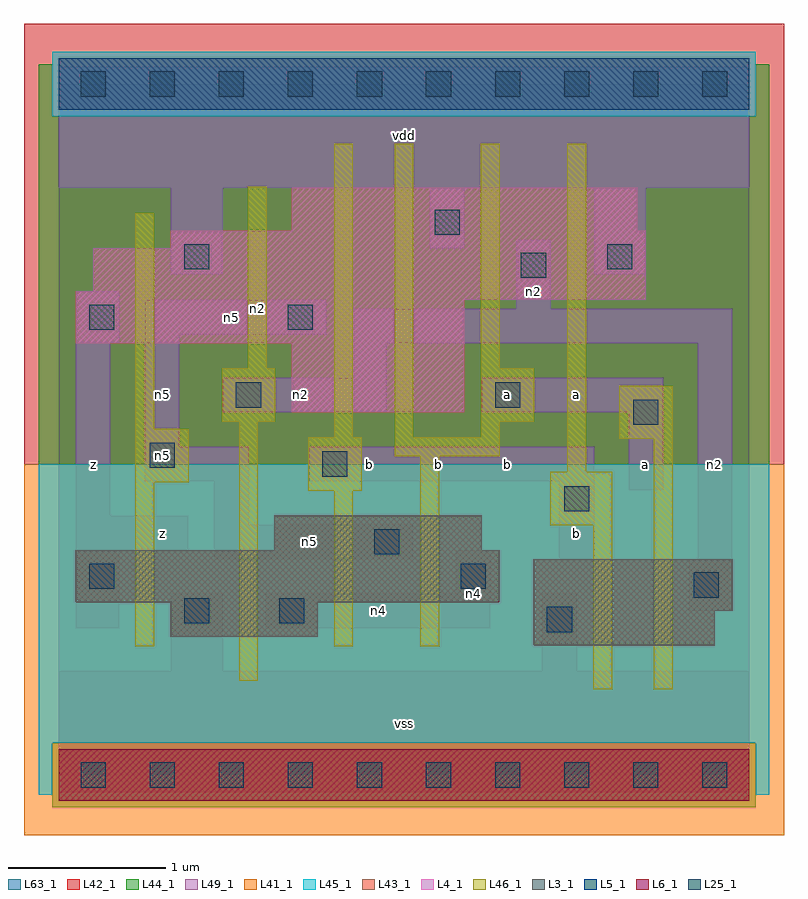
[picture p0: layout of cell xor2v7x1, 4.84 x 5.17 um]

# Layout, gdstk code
import gdstk
lib = gdstk.Library(unit=1e-6, precision=1e-09)
def R(c, l, rs):  # rectangles x0, y0, x1, y1
    for r in rs: c.add(gdstk.rectangle(r[:2], r[2:], *l))
def A(c, l, x, y, w, h, nx, ny, dx, dy):  # array of equal rectangles
    R(c, l, [(x+i*dx, y+j*dy, x+i*dx+w, y+j*dy+h) for i in range(nx) for j in range(ny)])
L3_1 = (3, 1)
L4_1 = (4, 1)
L5_1 = (5, 1)
L6_1 = (6, 1)
L25_1 = (25, 1)
L41_1 = (41, 1)
L42_1 = (42, 1)
L43_1 = (43, 1)
L44_1 = (44, 1)
L45_1 = (45, 1)
L46_1 = (46, 1)
L49_1 = (49, 1)
L63_1 = (63, 1)

xor2v7x1 = lib.new_cell('xor2v7x1')
R(xor2v7x1, L3_1, [(3.025,0.825,4.18,1.045), (0.715,0.88,1.65,1.1), (3.025,1.045,4.29,1.375), (0.11,1.1,2.805,1.43), (1.375,1.43,2.695,1.65)])
R(xor2v7x1, L4_1, [(1.485,2.31,2.585,2.75), (0.11,2.75,2.585,3.025), (0.11,3.025,3.74,3.08), (0.22,3.08,3.74,3.355), (0.715,3.355,3.74,3.465), (1.485,3.465,3.685,3.74)])
R(xor2v7x1, L5_1, [(0,4.235,4.4,4.565)])
R(xor2v7x1, L6_1, [(0,-0.165,4.4,0.165)])
A(xor2v7x1, L25_1, 0.14, -0.08, 0.16, 0.16, 10, 2, 0.44, 4.4)
R(xor2v7x1, L25_1, [(3.11,0.91,3.27,1.07), (0.8,0.965,0.96,1.125), (1.405,0.965,1.565,1.125), (4.045,1.13,4.205,1.29), (0.195,1.185,0.355,1.345), (2.56,1.185,2.72,1.345), (2.01,1.405,2.17,1.565), (3.22,1.68,3.38,1.84), (1.68,1.9,1.84,2.06), (0.58,1.955,0.74,2.115), (3.66,2.23,3.82,2.39), (1.13,2.34,1.29,2.5), (2.78,2.34,2.94,2.5), (0.195,2.835,0.355,2.995), (1.46,2.835,1.62,2.995), (2.945,3.165,3.105,3.325), (0.8,3.22,0.96,3.38), (3.495,3.22,3.655,3.38), (2.395,3.44,2.555,3.6)])
R(xor2v7x1, L41_1, [(-0.22,-0.385,4.62,1.98)])
R(xor2v7x1, L42_1, [(-0.22,1.98,4.62,4.785)])
R(xor2v7x1, L43_1, [(0,-0.165,4.4,0.165), (3.025,0.825,4.18,1.045), (0.715,0.88,1.65,1.1), (3.025,1.045,4.29,1.375), (0.11,1.1,2.805,1.43), (1.375,1.43,2.695,1.65), (1.485,2.31,2.585,2.75), (0.11,2.75,2.585,3.025), (0.11,3.025,3.74,3.08), (0.22,3.08,3.74,3.355), (0.715,3.355,3.74,3.465), (1.485,3.465,3.685,3.74), (0,4.235,4.4,4.565)])
R(xor2v7x1, L44_1, [(-0.04,-0.205,4.44,0.205), (-0.125,1.98,4.525,4.195), (-0.125,4.195,-0.04,4.525), (4.44,4.195,4.525,4.525)])
R(xor2v7x1, L45_1, [(-0.125,-0.125,-0.04,0.205), (4.44,-0.125,4.525,0.205), (-0.125,0.205,4.525,1.98), (-0.04,4.195,4.44,4.605)])
R(xor2v7x1, L46_1, [(3.405,0.545,3.525,1.59), (3.79,0.545,3.91,2.14), (1.15,0.6,1.27,2.25), (0.49,0.82,0.61,1.865), (1.755,0.82,1.875,1.81), (2.305,0.82,2.425,2.03), (3.13,1.59,3.525,1.93), (1.59,1.81,1.93,2.15), (0.49,1.865,0.83,2.205), (3.24,1.93,3.36,4.02), (2.14,2.03,2.81,2.15), (3.57,2.14,3.91,2.48), (1.755,2.15,1.875,4.02), (2.14,2.15,2.26,4.02), (2.69,2.15,2.81,2.25), (0.49,2.205,0.61,3.58), (1.04,2.25,1.38,2.59), (2.69,2.25,3.03,2.59), (1.205,2.59,1.325,3.745), (2.69,2.59,2.81,4.02)])
R(xor2v7x1, L49_1, [(0,-0.11,4.4,0.66), (0.715,0.66,1.045,1.155), (3.08,0.66,3.3,1.155), (0.11,0.935,0.385,1.43), (1.32,0.935,2.75,1.155), (4.015,1.045,4.29,1.375), (2.53,1.155,2.75,1.43), (0.99,1.375,2.255,1.595), (3.19,1.375,3.41,1.87), (4.07,1.375,4.29,2.75), (0.11,1.43,0.825,1.65), (0.99,1.595,1.21,1.87), (0.11,1.65,0.33,2.75), (3.63,1.815,3.85,2.31), (0.55,1.87,1.21,2.09), (1.595,1.87,3.41,2.09), (0.55,2.09,0.77,2.805), (1.045,2.31,2.09,2.53), (2.695,2.31,3.85,2.53), (1.87,2.53,2.09,2.75), (0.11,2.75,0.385,3.08), (1.87,2.75,4.29,2.97), (0.55,2.805,1.705,3.025), (2.915,2.97,3.135,3.41), (0.715,3.19,1.045,3.74), (3.41,3.19,3.74,3.74), (2.365,3.355,2.585,3.74), (0,3.74,4.4,4.51)])
R(xor2v7x1, L63_1, [(0,0,4.4,4.4)])
xor2v7x1.add(gdstk.Label('n5', (0.66,2.035), layer=49, texttype=1))
xor2v7x1.add(gdstk.Label('n2', (1.265,2.97), layer=46, texttype=1))
xor2v7x1.add(gdstk.Label('z', (0.22,1.98), layer=49, texttype=1))
xor2v7x1.add(gdstk.Label('z', (0.66,1.54), layer=49, texttype=1))
xor2v7x1.add(gdstk.Label('n5', (0.66,2.42), layer=49, texttype=1))
xor2v7x1.add(gdstk.Label('vss', (2.2,0.33), layer=49, texttype=1))
xor2v7x1.add(gdstk.Label('n5', (1.595,1.485), layer=49, texttype=1))
xor2v7x1.add(gdstk.Label('n2', (1.54,2.42), layer=49, texttype=1))
xor2v7x1.add(gdstk.Label('b', (2.42,1.98), layer=49, texttype=1))
xor2v7x1.add(gdstk.Label('b', (1.98,1.98), layer=49, texttype=1))
xor2v7x1.add(gdstk.Label('n5', (1.1,2.915), layer=49, texttype=1))
xor2v7x1.add(gdstk.Label('vdd', (2.2,4.07), layer=49, texttype=1))
xor2v7x1.add(gdstk.Label('n4', (2.64,1.155), layer=49, texttype=1))
xor2v7x1.add(gdstk.Label('n4', (2.035,1.045), layer=49, texttype=1))
xor2v7x1.add(gdstk.Label('b', (3.3,1.54), layer=49, texttype=1))
xor2v7x1.add(gdstk.Label('b', (2.86,1.98), layer=49, texttype=1))
xor2v7x1.add(gdstk.Label('a', (2.86,2.42), layer=49, texttype=1))
xor2v7x1.add(gdstk.Label('a', (3.3,2.42), layer=49, texttype=1))
xor2v7x1.add(gdstk.Label('n2', (3.025,3.08), layer=49, texttype=1))
xor2v7x1.add(gdstk.Label('a', (3.74,1.98), layer=49, texttype=1))
xor2v7x1.add(gdstk.Label('n2', (4.18,1.98), layer=49, texttype=1))

lib.write_gds('xor2v7x1.gds')
